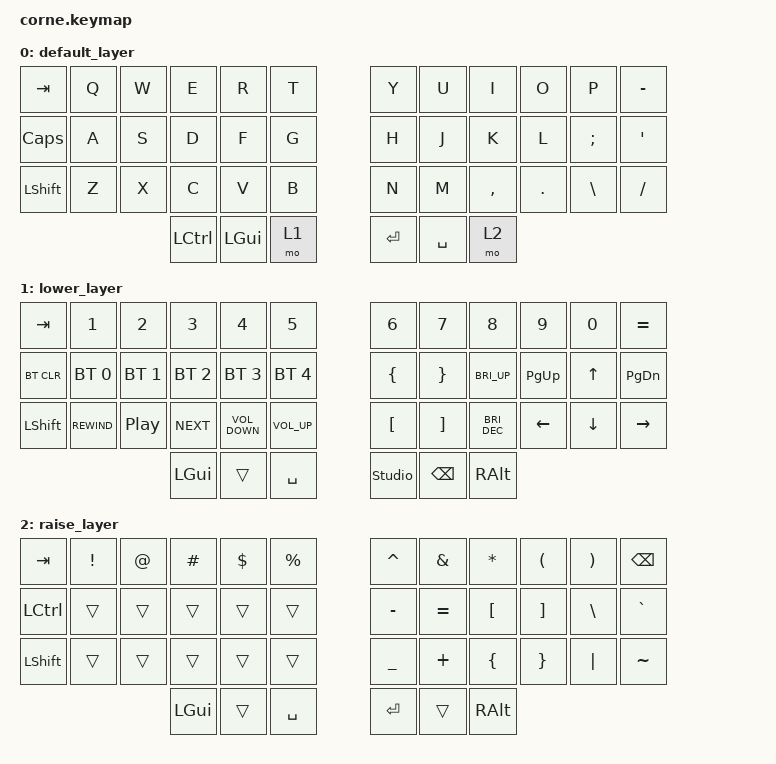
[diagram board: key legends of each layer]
/*
 * Copyright (c) 2020 The ZMK Contributors
 *
 * SPDX-License-Identifier: MIT
 */

#include <behaviors.dtsi>
#include <dt-bindings/zmk/bt.h>
#include <dt-bindings/zmk/keys.h>

/ {
    behaviors {
        hml: home_row_mod_left {
            compatible = "zmk,behavior-hold-tap";
            #binding-cells = <2>;
            flavor = "balanced";
            require-prior-idle-ms = <100>;
            tapping-term-ms = <125>;
            quick-tap-ms = <125>;
            bindings = <&kp>, <&kp>;
            hold-trigger-key-positions = <Y U I O P H J K L N M>; // List of keys on the right side of the keyboard
            hold-trigger-on-release;
        };
        hmr: home_row_mod_right {
            compatible = "zmk,behavior-hold-tap";
            #binding-cells = <2>;
            flavor = "balanced";
            require-prior-idle-ms = <100>;
            tapping-term-ms = <125>;
            quick-tap-ms = <125>;
            bindings = <&kp>, <&kp>;
            hold-trigger-key-positions = <Q W E R T A S D F G Z X C V B>; // List of keys on the left side of the keyboard
            hold-trigger-on-release;
        };
    };
};

/ {
    keymap {
        compatible = "zmk,keymap";

        default_layer {
            // -----------------------------------------------------------------------------------------
            // |  TAB |  Q  |  W  |  E  |  R  |  T  |   |  Y  |  U   |  I  |  O  |  P  | BSPC |
            // | CTRL |  A  |  S  |  D  |  F  |  G  |   |  H  |  J   |  K  |  L  |  ;  |  '   |
            // | SHFT |  Z  |  X  |  C  |  V  |  B  |   |  N  |  M   |  ,  |  .  |  /  | ESC  |
            //                    | GUI | LWR | SPC |   | ENT | RSE  | ALT |

            bindings = <
&kp TAB    &kp Q  &kp W  &kp E      &kp R         &kp T    &kp Y    &kp U      &kp I      &kp O    &kp P          &kp MINUS
&kp CAPS   &kp A  &kp S  &kp D      &kp F         &kp G    &kp H    &kp J      &kp K      &kp L    &kp SEMI       &kp SQT
&kp LSHFT  &kp Z  &kp X  &kp C      &kp V         &kp B    &kp N    &kp M      &kp COMMA  &kp DOT  &kp BACKSLASH  &kp SLASH
                         &kp LCTRL  &kp LEFT_GUI  &mo 1    &kp RET  &kp SPACE  &mo 2
            >;
        };

        lower_layer {
            // -----------------------------------------------------------------------------------------
            // |  TAB |  1  |  2  |  3  |  4  |  5  |   |  6  |  7  |  8  |  9  |  0  | BSPC |
            // | BTCLR| BT1 | BT2 | BT3 | BT4 | BT5 |   | LFT | DWN |  UP | RGT |     |      |
            // | SHFT |     |     |     |     |     |   |     |     |     |     |     |      |
            //                    | GUI |     | SPC |   | ENT |     | ALT |

            bindings = <
&kp TAB     &kp N1        &kp N2            &kp N3        &kp N4             &kp N5             &kp N6            &kp N7             &kp N8                &kp N9       &kp N0        &kp EQUAL
&bt BT_CLR  &bt BT_SEL 0  &bt BT_SEL 1      &bt BT_SEL 2  &bt BT_SEL 3       &bt BT_SEL 4       &kp LEFT_BRACE    &kp RIGHT_BRACE    &kp C_BRI_UP          &kp PAGE_UP  &kp UP_ARROW  &kp PAGE_DOWN
&kp LSHFT   &kp C_REWIND  &kp C_PLAY_PAUSE  &kp C_NEXT    &kp C_VOLUME_DOWN  &kp C_VOLUME_UP    &kp LEFT_BRACKET  &kp RIGHT_BRACKET  &kp C_BRIGHTNESS_DEC  &kp LEFT     &kp DOWN      &kp RIGHT
                                            &kp LGUI      &trans             &kp SPACE          &studio_unlock    &kp BACKSPACE      &kp RALT
            >;
        };

        raise_layer {
            // -----------------------------------------------------------------------------------------
            // |  TAB |  !  |  @  |  #  |  $  |  %  |   |  ^  |  &  |  *  |  (  |  )  | BSPC |
            // | CTRL |     |     |     |     |     |   |  -  |  =  |  [  |  ]  |  \  |  `   |
            // | SHFT |     |     |     |     |     |   |  _  |  +  |  {  |  }  | "|" |  ~   |
            //                    | GUI |     | SPC |   | ENT |     | ALT |

            bindings = <
&kp TAB    &kp EXCL  &kp AT  &kp HASH  &kp DLLR  &kp PRCNT    &kp CARET  &kp AMPS   &kp ASTRK  &kp LPAR  &kp RPAR  &kp BSPC
&kp LCTRL  &trans    &trans  &trans    &trans    &trans       &kp MINUS  &kp EQUAL  &kp LBKT   &kp RBKT  &kp BSLH  &kp GRAVE
&kp LSHFT  &trans    &trans  &trans    &trans    &trans       &kp UNDER  &kp PLUS   &kp LBRC   &kp RBRC  &kp PIPE  &kp TILDE
                             &kp LGUI  &trans    &kp SPACE    &kp RET    &trans     &kp RALT
            >;
        };
    };
};
